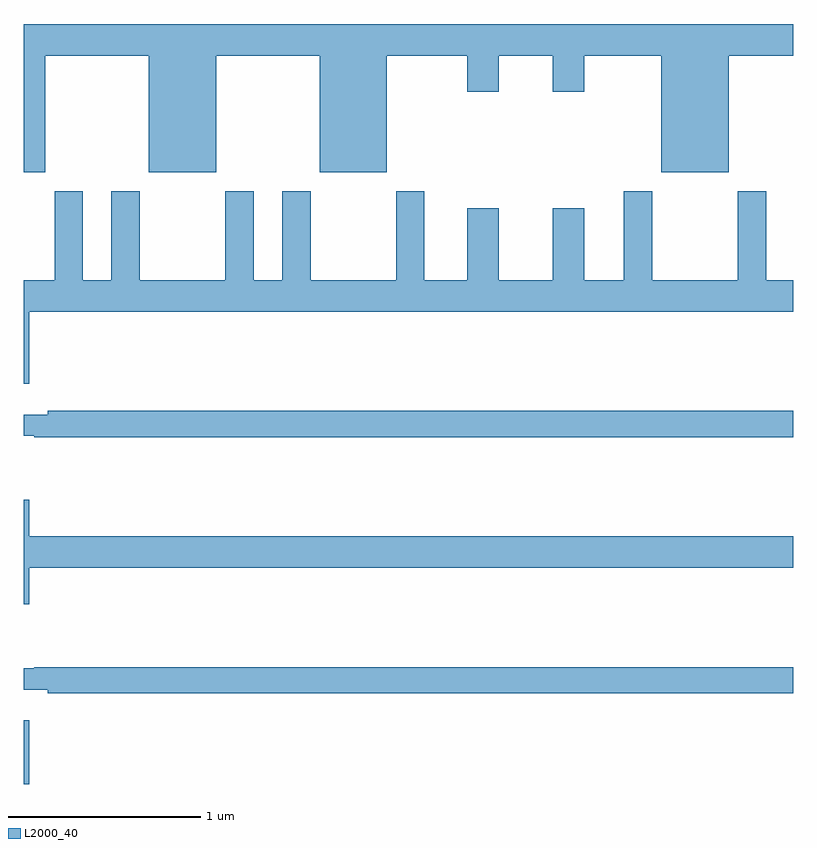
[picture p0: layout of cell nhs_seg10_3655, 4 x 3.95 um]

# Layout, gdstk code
import gdstk
lib = gdstk.Library(unit=1e-6, precision=1e-09)
def R(c, l, rs):  # rectangles x0, y0, x1, y1
    for r in rs: c.add(gdstk.rectangle(r[:2], r[2:], *l))
def P(c, l, *ps):  # polygons
    for p in ps: c.add(gdstk.Polygon(p, *l))
L2000_40 = (2000, 40)

nhs_seg10_3655 = lib.new_cell('nhs_seg10_3655')
R(nhs_seg10_3655, L2000_40, [(309,1324.5,309.028,1324.831)])
P(nhs_seg10_3655, L2000_40, [(309.112,1328.288),(309.65,1328.288),(309.65,1327.682),(310,1327.682),(310,1328.288),(310.538,1328.288),(310.538,1327.682),(310.888,1327.682),(310.888,1328.288),(311.306,1328.288),(311.306,1328.1),(311.47,1328.1),(311.47,1328.288),(311.75,1328.288),(311.75,1328.1),(311.914,1328.1),(311.914,1328.288),(312.314,1328.288),(312.314,1327.682),(312.664,1327.682),(312.664,1328.288),(313,1328.288),(313,1328.452),(309,1328.452),(309,1327.682),(309.112,1327.682)],
  [(313,1327.12),(312.859,1327.12),(312.859,1327.582),(312.712,1327.582),(312.712,1327.12),(312.267,1327.12),(312.267,1327.582),(312.119,1327.582),(312.119,1327.12),(311.914,1327.12),(311.914,1327.495),(311.75,1327.495),(311.75,1327.12),(311.47,1327.12),(311.47,1327.495),(311.306,1327.495),(311.306,1327.12),(311.083,1327.12),(311.083,1327.582),(310.936,1327.582),(310.936,1327.12),(310.491,1327.12),(310.491,1327.582),(310.343,1327.582),(310.343,1327.12),(310.195,1327.12),(310.195,1327.582),(310.048,1327.582),(310.048,1327.12),(309.603,1327.12),(309.603,1327.582),(309.455,1327.582),(309.455,1327.12),(309.307,1327.12),(309.307,1327.582),(309.16,1327.582),(309.16,1327.12),(309,1327.12),(309,1326.582),(309.028,1326.582),(309.028,1326.956),(313,1326.956)],
  [(313,1326.44),(309.124,1326.44),(309.124,1326.421),(309,1326.421),(309,1326.312),(309.055,1326.312),(309.055,1326.304),(313,1326.304)],
  [(309.028,1325.624),(313,1325.624),(313,1325.788),(309.028,1325.788),(309.028,1325.977),(309,1325.977),(309,1325.436),(309.028,1325.436)],
  [(313,1325.108),(309.055,1325.108),(309.055,1325.101),(309,1325.101),(309,1324.991),(309.124,1324.991),(309.124,1324.972),(313,1324.972)])

lib.write_gds('nhs_seg10_3655.gds')
